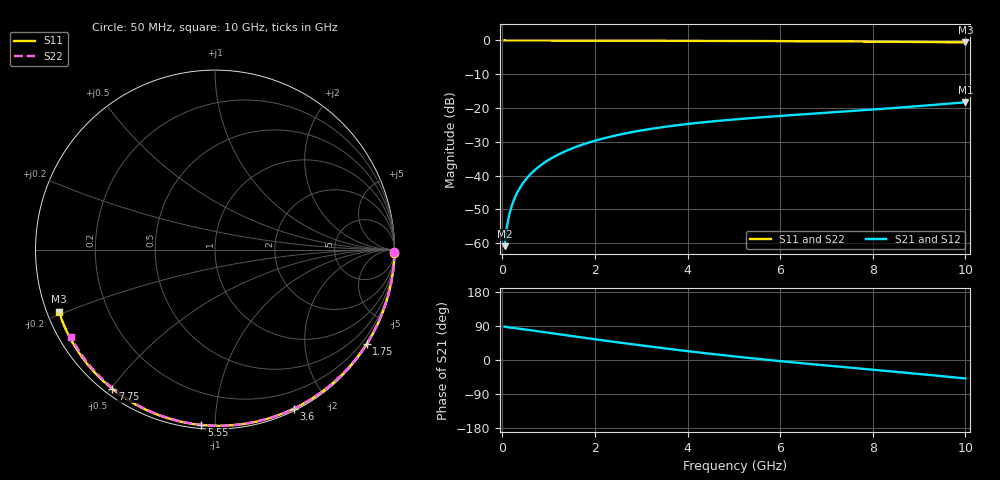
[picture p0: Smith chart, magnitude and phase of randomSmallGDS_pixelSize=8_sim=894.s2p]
! freq	dB(S11)	phase(S11)	dB(S12)	phase(S12)
!  dB(S21)	phase(S21)	dB(S22)	phase(S22)
!S-par simulation data
#  GHz  S  DB  R 50
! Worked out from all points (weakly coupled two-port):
!   200 points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, 50 MHz to 10 GHz, reference 50 ohm
!   highest |S21| = -18.31 dB at 10 GHz (marker M1); lowest = -60.9 dB at 50 MHz (marker M2)
!   lowest |S11| = -0.6 dB at 10 GHz (marker M3), VSWR 30.18, Z = 1.72 - j9.59 ohm
!   |S11| at or under -10 dB: nowhere
!   |S22| runs from -0.5 to 0.0 dB; largest |S21 - S12| = 0
!   S11 on the Smith chart (normalised r, x): 50 MHz: open; 1.75 GHz: 0.03, -3.50; 3.6 GHz: 0.02, -1.61; 5.55 GHz: 0.02, -0.92; 7.75 GHz: 0.02, -0.50; 10 GHz: 0.03, -0.19
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0.05  -0.00 -0.9  -60.92 88.0  -60.92 88.0  -0.00 -0.9
0.1  -0.00 -1.9  -55.02 86.8  -55.02 86.8  -0.00 -1.7
0.15  -0.00 -2.8  -51.59 85.9  -51.59 85.9  -0.00 -2.6
0.2  -0.00 -3.7  -49.14 85.2  -49.14 85.2  -0.00 -3.5
0.25  -0.00 -4.6  -47.24 84.4  -47.24 84.4  -0.00 -4.4
0.35  -0.00 -6.5  -44.36 82.9  -44.36 82.9  -0.00 -6.1
0.5  -0.01 -9.3  -41.30 80.4  -41.30 80.4  -0.01 -8.7
0.7  -0.01 -12.9  -38.41 77.0  -38.41 77.0  -0.01 -12.2
1  -0.02 -18.4  -35.38 71.9  -35.38 71.9  -0.02 -17.3
1.35  -0.03 -24.8  -32.87 65.8  -32.87 65.8  -0.03 -23.3
1.75  -0.04 -31.9  -30.75 59.0  -30.75 59.0  -0.04 -30.0
2.5  -0.06 -45.1  -27.98 46.5  -27.98 46.5  -0.06 -42.4
3.4  -0.09 -60.4  -25.80 32.3  -25.80 32.3  -0.09 -56.9
3.6  -0.10 -63.7  -25.42 29.3  -25.42 29.3  -0.09 -60.0
4.3  -0.12 -75.1  -24.29 19.1  -24.29 19.1  -0.11 -70.8
5.05  -0.15 -86.9  -23.35 8.9  -23.35 8.9  -0.14 -81.9
5.55  -0.17 -94.5  -22.81 2.6  -22.81 2.6  -0.16 -89.1
6.7  -0.24 -111.4  -21.70 -11.1  -21.70 -11.1  -0.23 -105.1
7.75  -0.32 -126.4  -20.71 -22.9  -20.71 -22.9  -0.30 -119.2
8.35  -0.37 -134.8  -20.11 -29.5  -20.11 -29.5  -0.36 -127.1
9.2  -0.47 -146.8  -19.21 -39.1  -19.21 -39.1  -0.45 -138.2
10  -0.58 -158.3  -18.31 -48.6  -18.31 -48.6  -0.55 -148.7
